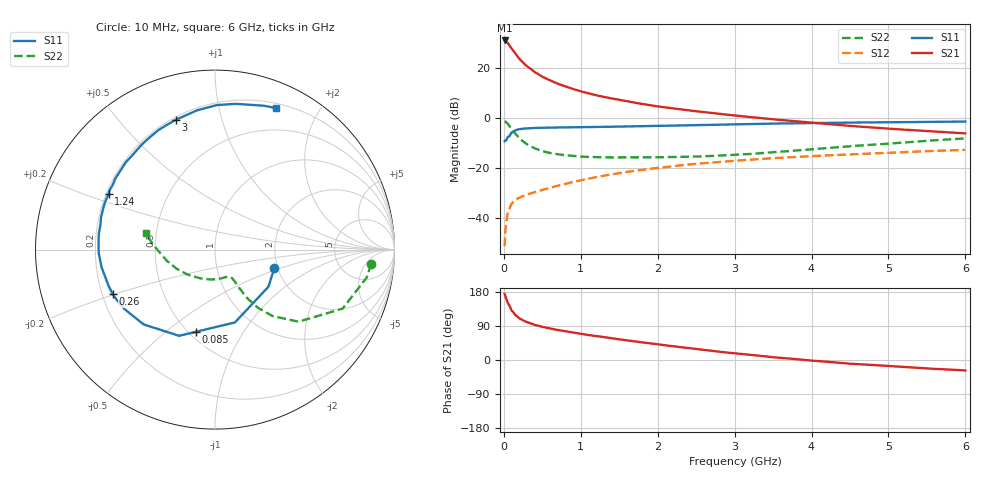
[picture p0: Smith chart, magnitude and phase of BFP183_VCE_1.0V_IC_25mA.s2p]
! Infineon Technologies  Discrete & RF Semiconductors
! BFP183
! VCE = 1.0 V,  IC =  25 mA
! Common Emitter S-Parameters:  Jan 2016
# GHz  S  MA  R  50
!  f  S11  S21  S12  S22
! GHz  MAG  ANG  MAG  ANG  MAG  ANG  MAG  ANG
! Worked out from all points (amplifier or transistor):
!   210 points, 10 MHz to 6 GHz, reference 50 ohm
!   highest |S21| = 31.2 dB at 10 MHz (marker M1)
!   |S21| within 3 dB of that: start of sweep to 94.95 MHz
!   unconditionally stable (mu >= 1): start of sweep to 10.56 MHz; 421 MHz to end of sweep
!   at 185 MHz: K = 0.59, MSG = 28.4 dB, |S12| = -32.1 dB
!   at 1.52 GHz: K = 1.41, MAG = 10.8 dB, |S12| = -21.9 dB
!   at 6 GHz: K = 1.15, MAG = 1.0 dB, |S12| = -12.7 dB
!   S11 on the Smith chart (normalised r, x): 10 MHz: 1.91, -0.46; 85 MHz: 0.54, -0.64; 260 MHz: 0.24, -0.20; 1.24 GHz: 0.21, +0.24; 3 GHz: 0.21, +0.72; 6 GHz: 0.25, +1.49
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0.01  0.3461 -17.6  36.51 174.0  0.0027 83.4  0.8741 -5.2
0.02  0.3627 -34.8  36.09 168.0  0.0056 78.5  0.8591 -10.5
0.05  0.4207 -74.7  32.78 151.0  0.0124 69.4  0.7833 -24.8
0.085  0.4702 -103.1  27.14 138.2  0.017 55.9  0.6593 -35.2
0.1  0.5203 -112.6  25.26 131.1  0.0191 52.2  0.6146 -40.8
0.15  0.5764 -133.7  19.72 118.6  0.0232 47.3  0.4884 -49.2
0.2  0.6043 -147.0  15.78 110.2  0.0254 44.6  0.4014 -53.6
0.24  0.6165 -153.7  13.57 105.5  0.027 43.8  0.3534 -55.4
0.26  0.6214 -156.6  12.64 103.3  0.0278 43.8  0.3333 -56.1
0.3  0.6268 -161.7  11.1 99.8  0.0293 44.4  0.3007 -56.9
0.4  0.6396 -171.2  8.489 92.7  0.0327 46.3  0.2492 -57.8
0.5  0.6481 -178.2  6.82 87.5  0.0365 48.0  0.2186 -58.1
0.7  0.6531 172.1  4.934 79.2  0.0441 51.8  0.189 -58.9
1.02  0.6643 159.3  3.412 68.5  0.0576 54.0  0.1696 -63.1
1.24  0.67 152.3  2.812 62.2  0.0675 53.6  0.1653 -67.3
1.58  0.6839 142.0  2.222 52.4  0.0829 52.6  0.1641 -75.1
2.02  0.7014 129.6  1.714 40.8  0.1019 49.5  0.1654 -88.0
3  0.7556 106.8  1.138 17.6  0.1401 40.4  0.1836 -122.0
3.1  0.7593 104.9  1.098 15.8  0.1436 39.4  0.1872 -125.6
4.1  0.8071 87.8  0.794 -3.0  0.1768 29.7  0.2454 -156.6
5.1  0.8335 75.3  0.604 -17.0  0.2053 21.3  0.3176 -179.2
6  0.8583 66.8  0.497 -27.6  0.2316 12.1  0.3944 166.1
